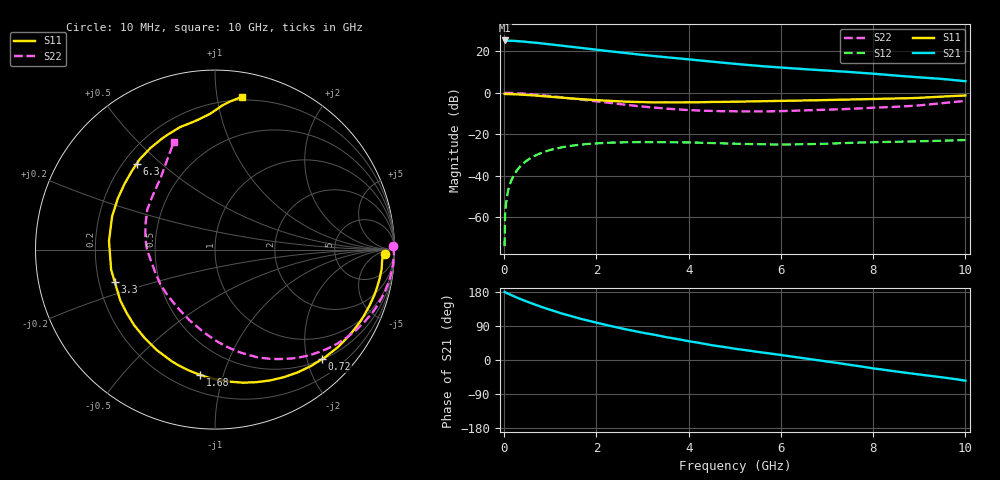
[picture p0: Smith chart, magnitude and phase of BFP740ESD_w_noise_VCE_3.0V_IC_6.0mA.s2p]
! Infineon Technologies  Discrete & RF Semiconductors
! BFP740ESD
! VCE =  3.0 V,  IC =  6.0 mA
! Common Emitter S-Parameters:  Jan 2016
# GHz  S  MA  R  50
!  f  S11  S21  S12  S22
! GHz  MAG  ANG  MAG  ANG  MAG  ANG  MAG  ANG
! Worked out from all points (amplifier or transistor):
!   233 points, 10 MHz to 10 GHz, reference 50 ohm
!   highest |S21| = 25.3 dB at 10 MHz (marker M1)
!   |S21| within 3 dB of that: start of sweep to 1.438 GHz
!   unconditionally stable (mu >= 1): start of sweep to 10.07 MHz; 5.623 GHz to 9.252 GHz
!   at 200 MHz: K = 0.06, MSG = 32.6 dB, |S12| = -40.2 dB
!   at 1.74 GHz: K = 0.30, MSG = 23.1 dB, |S12| = -24.8 dB
!   at 10 GHz: K = 0.70, MSG = 14.2 dB, |S12| = -22.8 dB
!   lowest NFmin = 0.54 dB at 450 MHz
!   S11 on the Smith chart (normalised r, x): 10 MHz: 29, -15; 720 MHz: 0.51, -2.28; 1.68 GHz: 0.31, -0.84; 3.3 GHz: 0.27, -0.15; 6.3 GHz: 0.25, +0.42; 10 GHz: 0.17, +1.18
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0.01  0.9474 -1.6  18.36 179.6  0.0002 -31.9  0.9919 1.0
0.02  0.9383 -1.4  18.11 178.8  0.0011 92.4  0.9971 -0.9
0.04  0.9347 -2.9  18.11 177.5  0.0021 89.0  0.9972 -1.8
0.145  0.9316 -9.7  18.1 171.8  0.0072 83.7  0.9926 -6.7
0.26  0.9209 -17.1  17.76 165.5  0.0127 78.8  0.9812 -11.7
0.42  0.9005 -27.3  17.23 157.6  0.0201 72.6  0.9581 -18.5
0.6  0.8741 -38.5  16.51 149.0  0.0278 65.8  0.9246 -25.9
0.72  0.8534 -45.6  16.03 143.9  0.0324 61.5  0.9001 -30.5
0.94  0.8167 -58.4  15.09 134.7  0.04 54.1  0.8514 -38.8
1.2  0.7734 -72.8  14 124.6  0.0474 46.2  0.7915 -47.9
1.68  0.7026 -96.8  12.08 108.1  0.0566 33.6  0.6856 -62.6
2.02  0.6644 -112.1  10.88 97.9  0.0607 26.5  0.6206 -71.7
2.46  0.6242 -131.0  9.585 85.6  0.0638 18.4  0.5428 -83.4
2.82  0.6044 -145.3  8.656 76.4  0.0647 12.9  0.489 -92.8
3.3  0.5868 -162.1  7.614 65.6  0.0646 7.0  0.4355 -104.5
3.4  0.5871 -165.5  7.428 63.1  0.0645 5.9  0.4266 -107.2
4  0.5925 175.4  6.439 49.6  0.0637 0.3  0.3844 -123.2
5.1  0.6132 150.6  4.896 28.2  0.0589 -5.5  0.358 -150.3
6.3  0.6469 132.5  3.864 8.2  0.0571 -5.0  0.3706 -175.9
6.8  0.6634 125.3  3.557 -0.4  0.0586 -4.5  0.3856 174.6
8.4  0.7217 99.7  2.66 -28.7  0.0656 -8.4  0.4555 140.6
10  0.8645 80.0  1.909 -54.5  0.0728 -14.4  0.6402 111.1
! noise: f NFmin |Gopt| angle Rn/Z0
0.45  0.54  0.36  5  0.15
0.9  0.56  0.36  16  0.12
1.9  0.59  0.32  31  0.1
2.4  0.66  0.27  49  0.12
5.5  0.9  0.24  -167  0.11
10  1.83  0.61  -93  0.58
